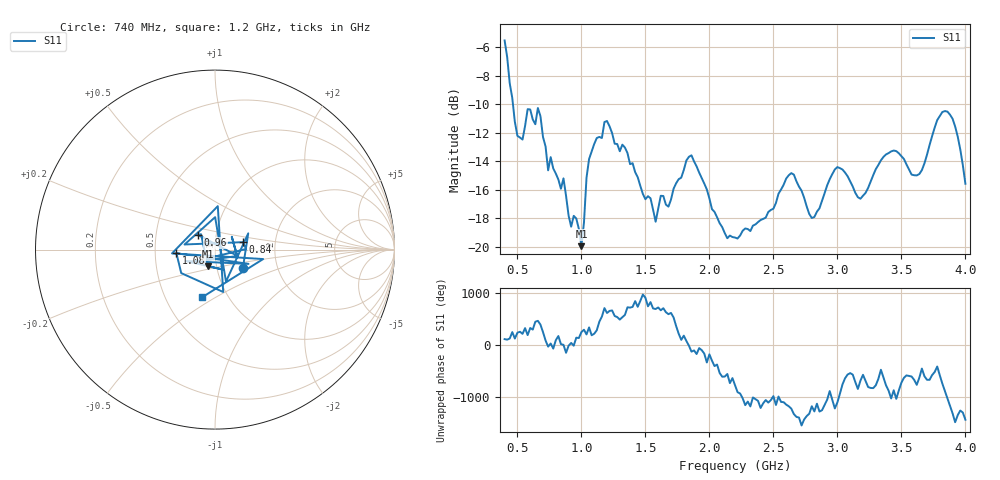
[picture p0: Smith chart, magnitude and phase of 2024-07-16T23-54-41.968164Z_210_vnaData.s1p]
!Created with skrf (http://scikit-rf.org).
# Hz S RI R 50.0
!freq ReS11 ImS11
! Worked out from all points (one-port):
!   181 points, 400 MHz to 4 GHz, reference 50 ohm
!   lowest |S11| = -19.9 dB at 1 GHz (marker M1), VSWR 1.22, Z = 45.4 - j8.48 ohm
!   |S11| at or under -10 dB: 465.1 MHz to end of sweep
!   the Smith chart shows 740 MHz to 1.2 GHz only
!   S11 on the Smith chart (normalised r, x): 740 MHz: 1.34, -0.28; 840 MHz: 1.36, +0.12; 960 MHz: 0.82, +0.14; 1.08 GHz: 0.65, -0.03; 1.2 GHz: 0.76, -0.44
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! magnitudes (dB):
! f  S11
! 400 MHz  -5.5
! 500 MHz  -12.2
! 660 MHz  -10.3
! 740 MHz  -14.6
! 760 MHz  -13.7
! 840 MHz  -15.9
! 860 MHz  -15.2
! 920 MHz  -18.6
! 960 MHz  -18.0
! 1 GHz  -19.9
! 1.04 GHz  -15.1
! 1.08 GHz  -13.3
! 1.2 GHz  -11.2
! 1.3 GHz  -13.3
! 1.58 GHz  -18.2
! 1.76 GHz  -15.3
! 1.86 GHz  -13.6
! 2.2 GHz  -19.3
! 2.66 GHz  -14.9
! 2.8 GHz  -18.0
! 2.98 GHz  -14.6
! 3.1 GHz  -15.4
! 3.18 GHz  -16.6
! 3.44 GHz  -13.3
! 3.56 GHz  -14.6
! 3.64 GHz  -14.9
! 3.86 GHz  -10.5
! 4 GHz  -15.6
